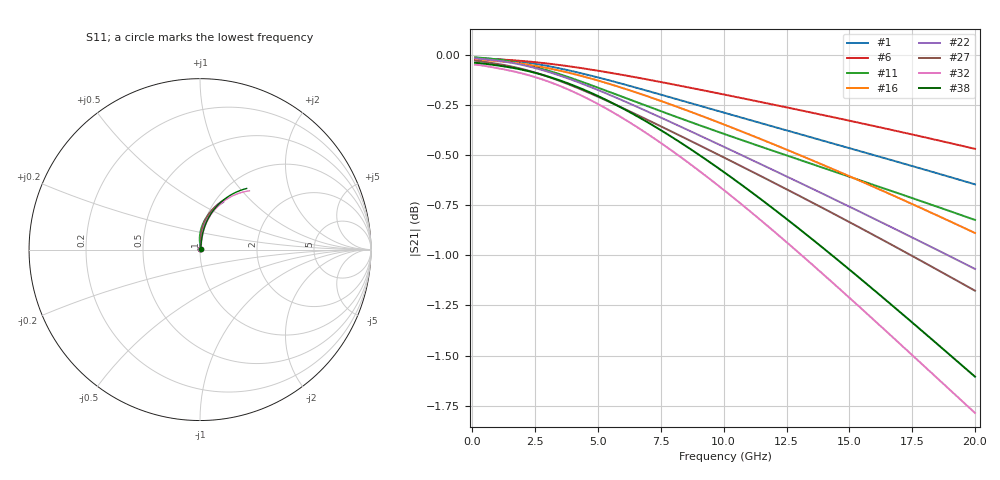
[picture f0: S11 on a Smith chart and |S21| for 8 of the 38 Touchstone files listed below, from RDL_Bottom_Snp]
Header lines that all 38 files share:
! Touchstone file exported from HFSS 2024.1.0
!  Design:  RDL_bottom
!  Setup:  Setup1
!  Solution:  Sweep
! Variables:
# GHz S MA R 50.000000
! Terminal data exported
! Port[1] = RDL1_T1
! Port[2] = RDL1_T2
Fixed: dtsv = 10.80580581um, hbump = 3um, lrdl = 100um, p = 40, rhole = 1um, t = 450um, trdl = 3.915915916um, wrdl = 20um
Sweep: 100 MHz to 20 GHz
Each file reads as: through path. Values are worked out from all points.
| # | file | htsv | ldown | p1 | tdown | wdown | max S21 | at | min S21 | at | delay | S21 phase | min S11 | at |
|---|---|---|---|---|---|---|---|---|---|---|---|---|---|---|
| 1 | dut0.s2p | 75.89um | 332.81um | 49.14um | 3.74um | 24.15um | -0.01 dB | 100 MHz | -0.6 dB | 20 GHz | 3.34 ps | -13 deg at 10.1 GHz | -54.5 dB | 100 MHz |
| 2 | dut1.s2p | 74.27um | 400.65um | 41.05um | 4.9um | 15.01um | -0.02 dB | 100 MHz | -0.8 dB | 20 GHz | 3.97 ps | -16 deg at 10.1 GHz | -51.6 dB | 100 MHz |
| 3 | dut2.s2p | 82.58um | 655.4um | 52.73um | 4.83um | 22.91um | -0.02 dB | 100 MHz | -1.6 dB | 20 GHz | 6.21 ps | -25 deg at 10.1 GHz | -50.2 dB | 100 MHz |
| 4 | dut5.s2p | 78.63um | 151.68um | 51.49um | 2.92um | 25.53um | -0.01 dB | 100 MHz | -0.3 dB | 20 GHz | 1.8 ps | -7 deg at 10.1 GHz | -58.3 dB | 100 MHz |
| 5 | dut6.s2p | 86.11um | 403.9um | 58.86um | 3.74um | 20.1um | -0.02 dB | 100 MHz | -1.1 dB | 20 GHz | 4.53 ps | -18 deg at 10.1 GHz | -51.0 dB | 100 MHz |
| 6 | dut9.s2p | 98.51um | 216.98um | 54.42um | 2.45um | 22.36um | -0.02 dB | 100 MHz | -0.5 dB | 20 GHz | 2.65 ps | -10 deg at 10.1 GHz | -53.8 dB | 100 MHz |
| 7 | dut11.s2p | 93.51um | 623.66um | 59.02um | 2.48um | 26.91um | -0.03 dB | 100 MHz | -1.7 dB | 20 GHz | 6.31 ps | -26 deg at 10.1 GHz | -47.6 dB | 100 MHz |
| 8 | dut14.s2p | 50.58um | 147.12um | 57.17um | 3.21um | 15.7um | -0.01 dB | 100 MHz | -0.3 dB | 20 GHz | 2.14 ps | -8 deg at 10.1 GHz | -55.8 dB | 100 MHz |
| 9 | dut19.s2p | 71.6um | 443.54um | 51.74um | 3.8um | 22.08um | -0.02 dB | 100 MHz | -1.0 dB | 20 GHz | 4.51 ps | -18 deg at 10.1 GHz | -51.6 dB | 100 MHz |
| 10 | dut20.s2p | 79.98um | 698.5um | 55.49um | 3.98um | 26.8um | -0.02 dB | 100 MHz | -1.7 dB | 20 GHz | 6.57 ps | -27 deg at 10.1 GHz | -49.9 dB | 100 MHz |
| 11 | dut21.s2p | 58.68um | 388.17um | 57.74um | 4.41um | 29.38um | -0.01 dB | 100 MHz | -0.8 dB | 20 GHz | 3.81 ps | -15 deg at 10.1 GHz | -55.5 dB | 100 MHz |
| 12 | dut25.s2p | 73.13um | 520.85um | 55.28um | 2.74um | 20.32um | -0.03 dB | 100 MHz | -1.5 dB | 20 GHz | 5.56 ps | -22 deg at 10.1 GHz | -47.5 dB | 100 MHz |
| 13 | dut28.s2p | 73.76um | 517.11um | 59.34um | 3.06um | 21.08um | -0.03 dB | 100 MHz | -1.5 dB | 20 GHz | 5.59 ps | -23 deg at 10.1 GHz | -48.4 dB | 100 MHz |
| 14 | dut29.s2p | 86.29um | 232.51um | 57.34um | 3.53um | 20.16um | -0.01 dB | 100 MHz | -0.5 dB | 20 GHz | 2.86 ps | -11 deg at 10.1 GHz | -54.8 dB | 100 MHz |
| 15 | dut30.s2p | 79.12um | 564.61um | 43.84um | 2.95um | 12.64um | -0.05 dB | 100 MHz | -1.6 dB | 20 GHz | 5.91 ps | -24 deg at 10.1 GHz | -44.2 dB | 100 MHz |
| 16 | dut31.s2p | 65.98um | 411.09um | 44.22um | 3.63um | 17.43um | -0.02 dB | 100 MHz | -0.9 dB | 20 GHz | 4.18 ps | -16 deg at 10.1 GHz | -50.5 dB | 100 MHz |
| 17 | dut32.s2p | 77.51um | 537.4um | 48.1um | 2.88um | 22.16um | -0.03 dB | 100 MHz | -1.3 dB | 20 GHz | 5.28 ps | -21 deg at 10.1 GHz | -48.6 dB | 100 MHz |
| 18 | dut33.s2p | 77.41um | 171.48um | 56.68um | 2.75um | 13.06um | -0.02 dB | 100 MHz | -0.4 dB | 20 GHz | 2.55 ps | -10 deg at 10.1 GHz | -52.7 dB | 100 MHz |
| 19 | dut35.s2p | 69.86um | 107.96um | 46.87um | 2.04um | 20.32um | -0.01 dB | 100 MHz | -0.2 dB | 20 GHz | 1.47 ps | -6 deg at 10.1 GHz | -56.5 dB | 100 MHz |
| 20 | dut37.s2p | 95.46um | 449.37um | 40.4um | 4.43um | 11.06um | -0.03 dB | 100 MHz | -1.1 dB | 20 GHz | 4.67 ps | -18 deg at 10.1 GHz | -48.0 dB | 100 MHz |
| 21 | dut38.s2p | 94.08um | 349.47um | 42.16um | 3.08um | 29.89um | -0.01 dB | 100 MHz | -0.6 dB | 20 GHz | 2.97 ps | -12 deg at 10.1 GHz | -55.0 dB | 100 MHz |
| 22 | dut39.s2p | 62.54um | 503.19um | 49um | 4.56um | 23.05um | -0.02 dB | 100 MHz | -1.1 dB | 20 GHz | 4.76 ps | -19 deg at 10.1 GHz | -52.3 dB | 100 MHz |
| 23 | dut40.s2p | 79.98um | 195.08um | 44.2um | 4.63um | 18.91um | -0.01 dB | 100 MHz | -0.3 dB | 20 GHz | 2.09 ps | -8 deg at 10.1 GHz | -58.1 dB | 100 MHz |
| 24 | dut41.s2p | 84.55um | 641.56um | 51.12um | 4.66um | 13.25um | -0.03 dB | 100 MHz | -2.0 dB | 20 GHz | 6.58 ps | -27 deg at 10.1 GHz | -46.2 dB | 100 MHz |
| 25 | dut42.s2p | 65.14um | 133.52um | 51.97um | 3.66um | 15.35um | -0.01 dB | 100 MHz | -0.3 dB | 20 GHz | 1.86 ps | -7 deg at 10.1 GHz | -57.4 dB | 100 MHz |
| 26 | dut46.s2p | 59.34um | 531.17um | 50.11um | 3.85um | 13.98um | -0.03 dB | 100 MHz | -1.6 dB | 20 GHz | 5.66 ps | -23 deg at 10.1 GHz | -47.0 dB | 100 MHz |
| 27 | dut47.s2p | 56.26um | 464.92um | 58.38um | 2.11um | 27.77um | -0.03 dB | 100 MHz | -1.2 dB | 20 GHz | 4.83 ps | -19 deg at 10.1 GHz | -48.9 dB | 100 MHz |
| 28 | dut50.s2p | 58.93um | 143.59um | 59.4um | 3.68um | 18.65um | -0.01 dB | 100 MHz | -0.3 dB | 20 GHz | 2.03 ps | -8 deg at 10.1 GHz | -57.6 dB | 100 MHz |
| 29 | dut51.s2p | 95.76um | 514.95um | 46.85um | 4.33um | 18.19um | -0.02 dB | 100 MHz | -1.2 dB | 20 GHz | 5.1 ps | -20 deg at 10.1 GHz | -50.0 dB | 100 MHz |
| 30 | dut53.s2p | 81.17um | 435.06um | 46.61um | 3.95um | 18.82um | -0.02 dB | 100 MHz | -1.0 dB | 20 GHz | 4.39 ps | -17 deg at 10.1 GHz | -51.1 dB | 100 MHz |
| 31 | dut60.s2p | 70.57um | 581.9um | 46.62um | 4.29um | 28.77um | -0.02 dB | 100 MHz | -1.1 dB | 20 GHz | 4.99 ps | -20 deg at 10.1 GHz | -53.1 dB | 100 MHz |
| 32 | dut61.s2p | 84.22um | 607.99um | 51.73um | 2.17um | 18.7um | -0.05 dB | 100 MHz | -1.8 dB | 20 GHz | 6.36 ps | -26 deg at 10.1 GHz | -44.2 dB | 100 MHz |
| 33 | dut62.s2p | 70.85um | 108.1um | 44.25um | 2.43um | 24.09um | -0.01 dB | 100 MHz | -0.2 dB | 20 GHz | 1.29 ps | -5 deg at 10.1 GHz | -58.9 dB | 100 MHz |
| 34 | dut68.s2p | 91.98um | 513.28um | 56.31um | 2.77um | 26.68um | -0.02 dB | 100 MHz | -1.3 dB | 20 GHz | 5.21 ps | -21 deg at 10.1 GHz | -49.8 dB | 100 MHz |
| 35 | dut69.s2p | 55.44um | 100.12um | 41.37um | 2.47um | 15.24um | -0.01 dB | 100 MHz | -0.2 dB | 20 GHz | 1.37 ps | -5 deg at 10.1 GHz | -57.1 dB | 100 MHz |
| 36 | dut70.s2p | 53.36um | 231.39um | 56.52um | 2.27um | 18.02um | -0.02 dB | 100 MHz | -0.6 dB | 20 GHz | 3.02 ps | -12 deg at 10.1 GHz | -51.4 dB | 100 MHz |
| 37 | dut73.s2p | 60.6um | 637.07um | 58.02um | 3.37um | 15.4um | -0.04 dB | 100 MHz | -2.2 dB | 20 GHz | 6.81 ps | -28 deg at 10.1 GHz | -45.1 dB | 100 MHz |
| 38 | dut77.s2p | 79.93um | 519.15um | 54.22um | 2.65um | 16.2um | -0.04 dB | 100 MHz | -1.6 dB | 20 GHz | 5.76 ps | -23 deg at 10.1 GHz | -45.7 dB | 100 MHz |
